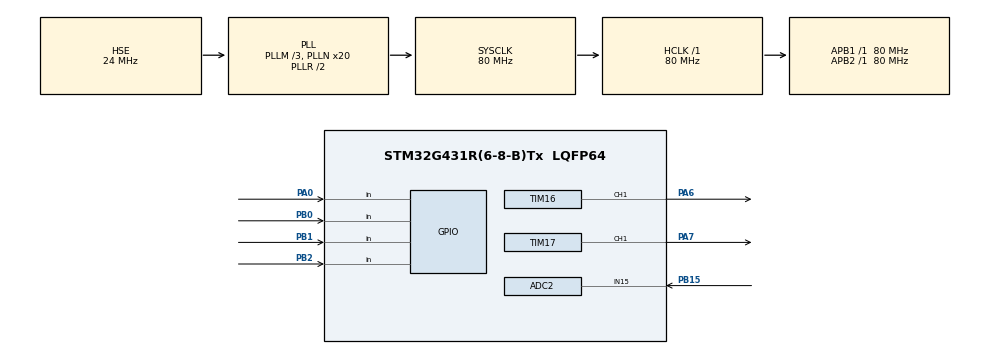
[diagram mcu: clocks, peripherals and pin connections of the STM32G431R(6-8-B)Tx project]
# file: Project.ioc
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ADC2.Channel-0\#ChannelRegularConversion=ADC_CHANNEL_15
ADC2.NbrOfConversionFlag=1
ADC2.OffsetNumber-0\#ChannelRegularConversion=ADC_OFFSET_NONE
ADC2.Rank-0\#ChannelRegularConversion=1
ADC2.SamplingTime-0\#ChannelRegularConversion=ADC_SAMPLETIME_2CYCLES_5
Mcu.Family=STM32G4
Mcu.Name=STM32G431R(6-8-B)Tx
Mcu.Package=LQFP64
NVIC.ADC1_2_IRQn=true\:0\:0\:false\:false\:true\:true\:true\:true
NVIC.PriorityGroup=NVIC_PRIORITYGROUP_4
NVIC.TIM1_TRG_COM_TIM17_IRQn=true\:0\:0\:false\:false\:true\:true\:true\:true
NVIC.TIM1_UP_TIM16_IRQn=true\:0\:0\:false\:false\:true\:true\:true\:true
NVIC.TIM6_DAC_IRQn=true\:15\:0\:true\:false\:true\:true\:true\:true
PA0.GPIO_Mode=GPIO_MODE_INPUT
PA0.GPIO_PuPd=GPIO_PULLUP
PA0.Signal=GPIO_Input
PA13.Mode=Serial_Wire
PA13.Signal=SYS_JTMS-SWDIO
PA14.Mode=Serial_Wire
PA14.Signal=SYS_JTCK-SWCLK
PA6.Signal=S_TIM16_CH1
PA7.Signal=S_TIM17_CH1
PB0.GPIO_Mode=GPIO_MODE_INPUT
PB0.GPIO_PuPd=GPIO_PULLUP
PB0.Signal=GPIO_Input
PB1.GPIO_Mode=GPIO_MODE_INPUT
PB1.GPIO_PuPd=GPIO_PULLUP
PB1.Signal=GPIO_Input
PB15.Mode=IN15-Single-Ended
PB15.Signal=ADC2_IN15
PB2.GPIO_Mode=GPIO_MODE_INPUT
PB2.GPIO_PuPd=GPIO_PULLUP
PB2.Signal=GPIO_Input
PF0-OSC_IN.Mode=HSE-External-Oscillator
PF0-OSC_IN.Signal=RCC_OSC_IN
PF1-OSC_OUT.Mode=HSE-External-Oscillator
PF1-OSC_OUT.Signal=RCC_OSC_OUT
ProjectManager.HeapSize=0x200
ProjectManager.StackSize=0x400
ProjectManager.TargetToolchain=MDK-ARM V5.32
RCC.ADC12Freq_Value=80000000
RCC.AHBFreq_Value=80000000
RCC.APB1Freq_Value=80000000
RCC.APB1TimFreq_Value=80000000
RCC.APB2Freq_Value=80000000
RCC.APB2TimFreq_Value=80000000
RCC.CortexFreq_Value=80000000
RCC.EXTERNAL_CLOCK_VALUE=12288000
RCC.HCLKFreq_Value=80000000
RCC.HSE_VALUE=24000000
RCC.HSI48_VALUE=48000000
RCC.HSI_VALUE=16000000
RCC.LSE_VALUE=32768
RCC.PLLM=RCC_PLLM_DIV3
RCC.PLLN=20
RCC.PLLSourceVirtual=RCC_PLLSOURCE_HSE
RCC.SYSCLKFreq_VALUE=80000000
RCC.SYSCLKSource=RCC_SYSCLKSOURCE_PLLCLK
RCC.USBFreq_Value=80000000
RCC.VCOOutputFreq_Value=160000000
SH.S_TIM16_CH1.0=TIM16_CH1,PWM Generation1 CH1
SH.S_TIM17_CH1.0=TIM17_CH1,PWM Generation1 CH1
TIM16.Channel=TIM_CHANNEL_1
TIM16.PeriodNoDither=1000-1
TIM16.Prescaler=800-1
TIM17.Channel=TIM_CHANNEL_1
TIM17.PeriodNoDither=10000-1
TIM17.Prescaler=400-1
TIM6.PeriodNoDither=10000-1
TIM6.Prescaler=800-1
VP_SYS_VS_DBSignals.Mode=DisableDeadBatterySignals
VP_TIM16_VS_ClockSourceINT.Mode=Enable_Timer
VP_TIM17_VS_ClockSourceINT.Mode=Enable_Timer
VP_TIM6_VS_ClockSourceINT.Mode=Enable_Timer
board=custom

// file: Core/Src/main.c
/* USER CODE BEGIN Header */
/**
 ******************************************************************************
 * @file           : main.c
 * @brief          : Main program body
 ******************************************************************************
 * @attention
 *
 * Copyright (c) 2024 STMicroelectronics.
 * All rights reserved.
 *
 * This software is licensed under terms that can be found in the LICENSE file
 * in the root directory of this software component.
 * If no LICENSE file comes with this software, it is provided AS-IS.
 *
 ******************************************************************************
 */
/* USER CODE END Header */
#include "main.h"
#include "adc.h"
#include "tim.h"
#include "gpio.h"

/* USER CODE BEGIN Includes */
#include "lcd.h"
#include "led.h"
#include "stdio.h"
#include "stdbool.h"
/* USER CODE END Includes */

/* USER CODE BEGIN PTD */
int mode = 0;
bool automation = true;
double v;
int manufacturer_pwm_16 = 10, manufacturer_pwm_17 = 10,
    automation_pwm_16 = 10, automation_pwm_17 = 10;
/* USER CODE END PTD */

void SystemClock_Config(void);

int main(void)
{

  /* MCU Configuration--------------------------------------------------------*/

  /* Reset of all peripherals, Initializes the Flash interface and the Systick. */
  HAL_Init();

  /* Configure the system clock */
  SystemClock_Config();

  /* Initialize all configured peripherals */
  MX_GPIO_Init();
  MX_ADC2_Init();
  MX_TIM6_Init();
  MX_TIM16_Init();
  MX_TIM17_Init();
  /* USER CODE BEGIN 2 */
  led_init();
  LCD_Init();
  LCD_Clear(Black);
  LCD_SetBackColor(Black);
  LCD_SetTextColor(White);
  /* USER CODE END 2 */

  /* Infinite loop */
  /* USER CODE BEGIN WHILE */
  HAL_ADC_Start(&hadc2);
  HAL_TIM_PWM_Start(&htim16, TIM_CHANNEL_1);
  HAL_TIM_PWM_Start(&htim17, TIM_CHANNEL_1);
  HAL_TIM_Base_Start_IT(&htim6);
  __HAL_TIM_SET_COMPARE(&htim16, TIM_CHANNEL_1, automation_pwm_16);
  __HAL_TIM_SET_COMPARE(&htim17, TIM_CHANNEL_1, automation_pwm_17);
  while (1)
  {
    if (HAL_GPIO_ReadPin(GPIOB, GPIO_PIN_0) == 0)
    {
      while (HAL_GPIO_ReadPin(GPIOB, GPIO_PIN_0) == 0)
        ;
      mode++;
      if (mode == 2)
        mode = 0;
    }
    else if (HAL_GPIO_ReadPin(GPIOB, GPIO_PIN_1) == 0)
    {
      while (HAL_GPIO_ReadPin(GPIOB, GPIO_PIN_1) == 0)
        ;
      if (mode == 1)
      {
        manufacturer_pwm_16 += 10;
        if (manufacturer_pwm_16 == 100)
        {
          manufacturer_pwm_16 = 10;
        }
      }
    }
    else if (HAL_GPIO_ReadPin(GPIOB, GPIO_PIN_2) == 0)
    {
      while (HAL_GPIO_ReadPin(GPIOB, GPIO_PIN_2) == 0)
        ;
      if (mode == 1)
      {
        manufacturer_pwm_17 += 10;
        if (manufacturer_pwm_17 == 100)
        {
          manufacturer_pwm_17 = 10;
        }
      }
    }
    else if (HAL_GPIO_ReadPin(GPIOA, GPIO_PIN_0) == 0)
    {
      while (HAL_GPIO_ReadPin(GPIOA, GPIO_PIN_0) == 0)
        ;
      if (automation)
      {
        automation = false;
      }
      else
      {
        automation = true;
      }
    }
    /* USER CODE END WHILE */

    /* USER CODE BEGIN 3 */
    v = getADC(&hadc2);
    automation_pwm_16 = ((double)(v / 3.3)) * 100;
    automation_pwm_17 = ((double)(v / 3.3)) * 100;
  }
  /* USER CODE END 3 */
}

void SystemClock_Config(void)
{
  RCC_OscInitTypeDef RCC_OscInitStruct = {0};
  RCC_ClkInitTypeDef RCC_ClkInitStruct = {0};

  /** Configure the main internal regulator output voltage
   */
  HAL_PWREx_ControlVoltageScaling(PWR_REGULATOR_VOLTAGE_SCALE1);

  /** Initializes the RCC Oscillators according to the specified parameters
   * in the RCC_OscInitTypeDef structure.
   */
  RCC_OscInitStruct.OscillatorType = RCC_OSCILLATORTYPE_HSE;
  RCC_OscInitStruct.HSEState = RCC_HSE_ON;
  RCC_OscInitStruct.PLL.PLLState = RCC_PLL_ON;
  RCC_OscInitStruct.PLL.PLLSource = RCC_PLLSOURCE_HSE;
  RCC_OscInitStruct.PLL.PLLM = RCC_PLLM_DIV3;
  RCC_OscInitStruct.PLL.PLLN = 20;
  RCC_OscInitStruct.PLL.PLLP = RCC_PLLP_DIV2;
  RCC_OscInitStruct.PLL.PLLQ = RCC_PLLQ_DIV2;
  RCC_OscInitStruct.PLL.PLLR = RCC_PLLR_DIV2;
  if (HAL_RCC_OscConfig(&RCC_OscInitStruct) != HAL_OK)
  {
    Error_Handler();
  }

  /** Initializes the CPU, AHB and APB buses clocks
   */
  RCC_ClkInitStruct.ClockType = RCC_CLOCKTYPE_HCLK | RCC_CLOCKTYPE_SYSCLK | RCC_CLOCKTYPE_PCLK1 | RCC_CLOCKTYPE_PCLK2;
  RCC_ClkInitStruct.SYSCLKSource = RCC_SYSCLKSOURCE_PLLCLK;
  RCC_ClkInitStruct.AHBCLKDivider = RCC_SYSCLK_DIV1;
  RCC_ClkInitStruct.APB1CLKDivider = RCC_HCLK_DIV1;
  RCC_ClkInitStruct.APB2CLKDivider = RCC_HCLK_DIV1;

  if (HAL_RCC_ClockConfig(&RCC_ClkInitStruct, FLASH_LATENCY_2) != HAL_OK)
  {
    Error_Handler();
  }
}

/* USER CODE BEGIN 4 */
char text[30];
void HAL_TIM_PeriodElapsedCallback(TIM_HandleTypeDef *htim)
{
  if (htim->Instance == TIM6)
  {
    if (mode == 0)
    {
      LCD_DisplayStringLine(Line1, (u8 *)"      Data   ");
      sprintf(text, "    V:%.2lfV     ", v);
      LCD_DisplayStringLine(Line3, (u8 *)text);
      if (automation)
      {
        sprintf(text, "    Mode:AUTO     ");
        LCD_DisplayStringLine(Line5, (u8 *)text);
      }
      else
      {
        sprintf(text, "    Mode:MANU     ");
        LCD_DisplayStringLine(Line5, (u8 *)text);
      }
    }
    else if (mode == 1)
    {
      LCD_DisplayStringLine(Line1, (u8 *)"      Para   ");
      if (automation == true)
      {
        sprintf(text, "    PA6:%d%%      ", automation_pwm_16);
        LCD_DisplayStringLine(Line3, (u8 *)text);
        sprintf(text, "    PA7:%d%%      ", automation_pwm_17);
        LCD_DisplayStringLine(Line5, (u8 *)text);
      }
      else
      {
        sprintf(text, "    PA6:%d%%     ", manufacturer_pwm_16);
        LCD_DisplayStringLine(Line3, (u8 *)text);
        sprintf(text, "    PA7:%d%%     ", manufacturer_pwm_17);
        LCD_DisplayStringLine(Line5, (u8 *)text);
      }
    }

    if (automation)
    {
      led_ON(1);
      led_OFF(2);
      __HAL_TIM_SET_COMPARE(&htim16, TIM_CHANNEL_1, automation_pwm_16);
      __HAL_TIM_SET_COMPARE(&htim17, TIM_CHANNEL_1, automation_pwm_17);
    }
    else
    {
      led_OFF(1);
      led_ON(2);
      __HAL_TIM_SET_COMPARE(&htim16, TIM_CHANNEL_1, manufacturer_pwm_16);
      __HAL_TIM_SET_COMPARE(&htim17, TIM_CHANNEL_1, manufacturer_pwm_17);
    }
  }
}
/* USER CODE END 4 */

void Error_Handler(void)
{
  __disable_irq();
  while (1)
  {
  }
}
